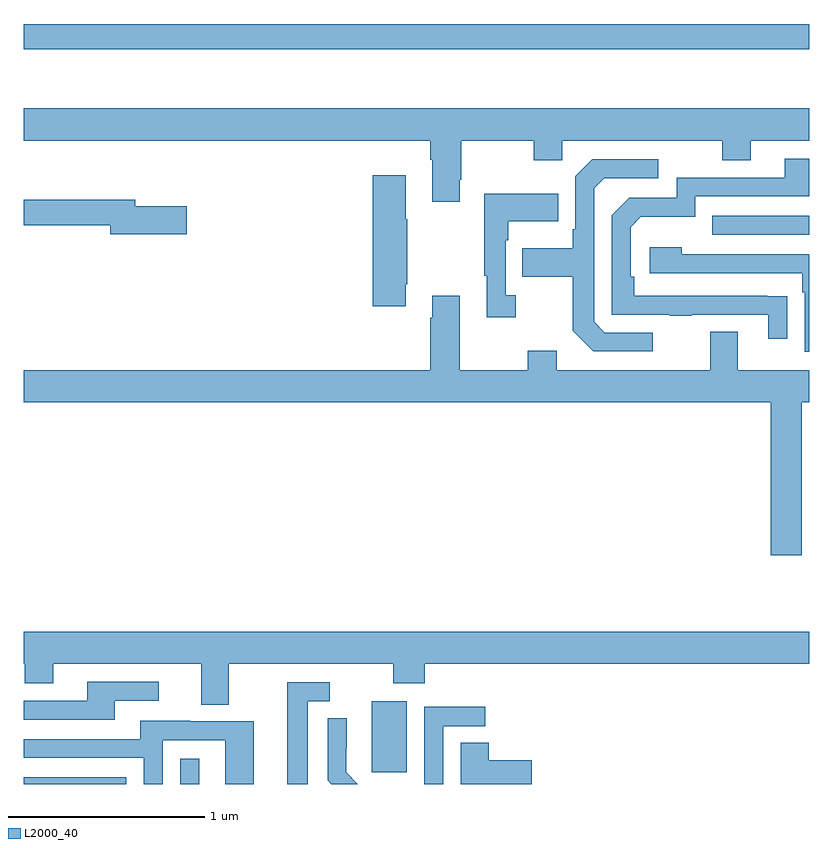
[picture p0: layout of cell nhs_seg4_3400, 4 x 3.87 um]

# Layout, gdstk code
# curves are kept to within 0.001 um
import gdstk
lib = gdstk.Library(unit=1e-6, precision=1e-09)
def R(c, l, rs):  # rectangles x0, y0, x1, y1
    for r in rs: c.add(gdstk.rectangle(r[:2], r[2:], *l))
def P(c, l, *ps):  # polygons
    for p in ps: c.add(gdstk.Polygon(p, *l))
L2000_40 = (2000, 40)

nhs_seg4_3400 = lib.new_cell('nhs_seg4_3400')
R(nhs_seg4_3400, L2000_40, [(291,770.9,291.522,770.934), (291.798,770.9,291.895,771.028), (292.772,770.961,292.951,771.322), (294.505,773.697,295,773.793), (291,774.642,295,774.77)])
P(nhs_seg4_3400, L2000_40, [(293.221,773.977),(293.229,773.977),(293.229,774.176),(293.596,774.176),(293.596,774.077),(293.742,774.077),(293.742,774.176),(294.556,774.176),(294.556,774.077),(294.703,774.077),(294.703,774.176),(295,774.176),(295,774.34),(291,774.34),(291,774.176),(293.069,774.176),(293.069,774.08),(293.081,774.08),(293.081,773.865),(293.221,773.865)],
  [(294.887,773.384),(294.11,773.385),(294.11,773.482),(294.09,773.482),(294.09,773.736),(294.143,773.789),(294.42,773.789),(294.42,773.892),(295,773.892),(295,774.084),(294.875,774.084),(294.875,773.988),(294.324,773.988),(294.324,773.886),(294.084,773.886),(293.994,773.796),(293.994,773.289),(294.289,773.289),(294.289,773.284),(294.401,773.284),(294.401,773.289),(294.791,773.289),(294.791,773.166),(294.887,773.166)],
  [(294.202,773.199),(293.958,773.199),(293.904,773.253),(293.904,773.934),(293.955,773.985),(294.232,773.985),(294.232,774.081),(293.895,774.081),(293.808,773.994),(293.808,773.725),(293.796,773.725),(293.796,773.629),(293.539,773.629),(293.539,773.482),(293.796,773.482),(293.796,773.209),(293.901,773.103),(294.202,773.103)],
  [(292.945,773.446),(292.953,773.446),(292.953,773.777),(292.945,773.777),(292.945,774.001),(292.778,774.001),(292.778,773.334),(292.945,773.334)],
  [(293.506,773.39),(293.454,773.39),(293.454,773.669),(293.467,773.669),(293.467,773.765),(293.723,773.765),(293.723,773.905),(293.346,773.905),(293.346,773.489),(293.357,773.489),(293.357,773.277),(293.506,773.277)],
  [(291.829,773.841),(291.568,773.841),(291.568,773.875),(291,773.875),(291,773.746),(291.44,773.746),(291.44,773.699),(291.829,773.699)],
  [(295,773.598),(294.35,773.598),(294.35,773.632),(294.189,773.632),(294.189,773.502),(294.965,773.502),(294.965,773.405),(294.978,773.405),(294.978,773.1),(295,773.1)],
  [(294.963,772.844),(295,772.844),(295,773.008),(294.637,773.008),(294.637,773.203),(294.497,773.203),(294.497,773.008),(293.713,773.008),(293.713,773.107),(293.566,773.107),(293.566,773.008),(293.221,773.008),(293.221,773.386),(293.081,773.386),(293.081,773.273),(293.069,773.273),(293.069,773.008),(291,773.008),(291,772.844),(294.803,772.844),(294.803,772.065),(294.963,772.065)],
  [(292.045,771.512),(292.882,771.512),(292.882,771.413),(293.042,771.413),(293.042,771.512),(295,771.512),(295,771.676),(291,771.676),(291,771.512),(291.004,771.512),(291.004,771.413),(291.151,771.413),(291.151,771.512),(291.905,771.512),(291.905,771.304),(292.045,771.304)],
  [(291.463,771.324),(291.688,771.324),(291.688,771.42),(291.323,771.42),(291.323,771.324),(291,771.324),(291,771.228),(291.463,771.228)],
  [(292.447,771.321),(292.558,771.321),(292.558,771.417),(292.343,771.417),(292.343,770.9),(292.447,770.9)],
  [(293.136,771.195),(293.35,771.195),(293.35,771.294),(293.04,771.294),(293.04,770.9),(293.136,770.9)],
  [(292.643,770.96),(292.643,771.082),(292.644,771.082),(292.644,771.236),(292.548,771.236),(292.548,770.918),(292.566,770.9),(292.702,770.9)],
  [(291.708,771.123),(292.026,771.123),(292.026,770.9),(292.171,770.9),(292.171,771.219),(291.847,771.219),(291.847,771.223),(291.593,771.223),(291.593,771.129),(291,771.129),(291,771.033),(291.612,771.033),(291.612,770.9),(291.708,770.9)],
  [(293.587,771.02),(293.369,771.02),(293.369,771.11),(293.225,771.11),(293.225,770.9),(293.587,770.9)])

lib.write_gds('nhs_seg4_3400.gds')
